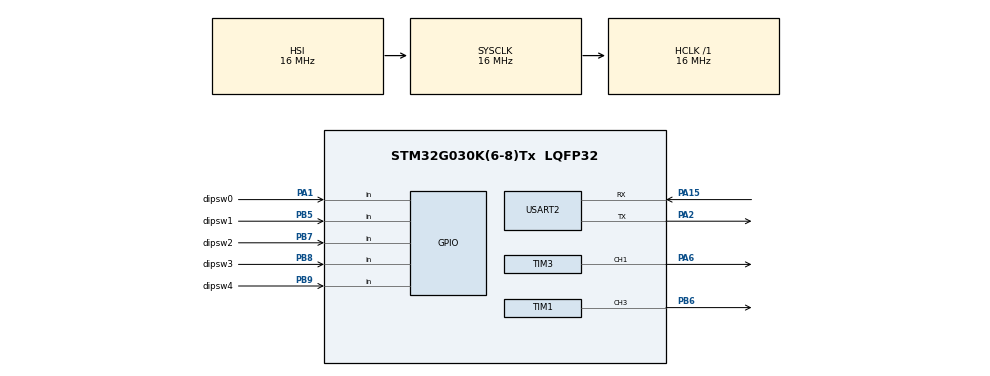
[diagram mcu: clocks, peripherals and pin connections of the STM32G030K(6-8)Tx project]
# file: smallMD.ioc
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Dma.Request0=USART2_RX
Dma.USART2_RX.0.Direction=DMA_PERIPH_TO_MEMORY
Dma.USART2_RX.0.EventEnable=DISABLE
Dma.USART2_RX.0.Instance=DMA1_Channel1
Dma.USART2_RX.0.MemDataAlignment=DMA_MDATAALIGN_BYTE
Dma.USART2_RX.0.MemInc=DMA_MINC_ENABLE
Dma.USART2_RX.0.Mode=DMA_CIRCULAR
Dma.USART2_RX.0.PeriphDataAlignment=DMA_PDATAALIGN_BYTE
Dma.USART2_RX.0.PeriphInc=DMA_PINC_DISABLE
Dma.USART2_RX.0.Polarity=HAL_DMAMUX_REQ_GEN_RISING
Dma.USART2_RX.0.Priority=DMA_PRIORITY_VERY_HIGH
Dma.USART2_RX.0.RequestNumber=1
Dma.USART2_RX.0.SignalID=NONE
Dma.USART2_RX.0.SyncEnable=DISABLE
Dma.USART2_RX.0.SyncPolarity=HAL_DMAMUX_SYNC_NO_EVENT
Dma.USART2_RX.0.SyncRequestNumber=1
Dma.USART2_RX.0.SyncSignalID=NONE
Mcu.Family=STM32G0
Mcu.Name=STM32G030K(6-8)Tx
Mcu.Package=LQFP32
NVIC.DMA1_Channel1_IRQn=true\:0\:0\:false\:false\:true\:false\:true\:true
NVIC.TIM14_IRQn=true\:0\:0\:false\:false\:true\:true\:true\:true
PA1.GPIO_Label=dipsw0
PA1.Signal=GPIO_Input
PA13.Mode=Serial_Wire
PA13.Signal=SYS_SWDIO
PA14-BOOT0.Mode=Serial_Wire
PA14-BOOT0.Signal=SYS_SWCLK
PA15.Mode=Asynchronous
PA15.Signal=USART2_RX
PA2.Mode=Asynchronous
PA2.Signal=USART2_TX
PA6.Signal=S_TIM3_CH1
PB5.GPIO_Label=dipsw1
PB5.Signal=GPIO_Input
PB6.Signal=S_TIM1_CH3
PB7.GPIO_Label=dipsw2
PB7.Signal=GPIO_Input
PB8.GPIO_Label=dipsw3
PB8.Signal=GPIO_Input
PB9.GPIO_Label=dipsw4
PB9.Signal=GPIO_Input
ProjectManager.HeapSize=0x200
ProjectManager.StackSize=0x400
ProjectManager.TargetToolchain=STM32CubeIDE
RCC.AHBFreq_Value=16000000
RCC.CortexFreq_Value=16000000
RCC.EXTERNAL_CLOCK_VALUE=12288000
RCC.HCLKFreq_Value=16000000
RCC.HSE_VALUE=8000000
RCC.HSI_VALUE=16000000
RCC.LSE_VALUE=32768
RCC.SYSCLKFreq_VALUE=16000000
RCC.VCOOutputFreq_Value=128000000
SH.S_TIM1_CH3.0=TIM1_CH3,PWM Generation3 CH3
SH.S_TIM3_CH1.0=TIM3_CH1,PWM Generation1 CH1
TIM1.Channel-PWM\ Generation3\ CH3=TIM_CHANNEL_3
TIM1.Period=128-1
TIM1.Prescaler=128-1
TIM14.Period=1000-1
TIM14.Prescaler=16000-1
TIM3.Channel-PWM\ Generation1\ CH1=TIM_CHANNEL_1
TIM3.Period=128-1
TIM3.Prescaler=16-1
USART2.VirtualMode-Asynchronous=VM_ASYNC
VP_TIM14_VS_ClockSourceINT.Mode=Enable_Timer
VP_TIM1_VS_ClockSourceINT.Mode=Internal
VP_TIM3_VS_ClockSourceINT.Mode=Internal
board=custom

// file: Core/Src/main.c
/* USER CODE BEGIN Header */
/**
  ******************************************************************************
  * @file           : main.c
  * @brief          : Main program body
  ******************************************************************************
  * @attention
  *
  * Copyright (c) 2024 STMicroelectronics.
  * All rights reserved.
  *
  * This software is licensed under terms that can be found in the LICENSE file
  * in the root directory of this software component.
  * If no LICENSE file comes with this software, it is provided AS-IS.
  *
  ******************************************************************************
  */
/* USER CODE END Header */
#include "main.h"

/* USER CODE BEGIN Includes */
#include "math.h"

/* USER CODE END Includes */

TIM_HandleTypeDef htim1;
TIM_HandleTypeDef htim3;
TIM_HandleTypeDef htim14;

UART_HandleTypeDef huart2;
DMA_HandleTypeDef hdma_usart2_rx;

/* USER CODE BEGIN PV */
uint8_t rxBuf[256];
uint8_t index_len = 0;
uint8_t rcvData[5] = {
		0, 0, 0, 1, 80
};
uint64_t milli_seconds = 0;
uint64_t m_counter = 0;
uint8_t ID = 5;
int16_t angle = 0;
int16_t gyro = 0;
int16_t speed = 0;
int16_t speed0 = 0;
int16_t speed1 = 0;
int16_t speed2 = 0;

/* USER CODE END PV */

void SystemClock_Config(void);
static void MX_GPIO_Init(void);
static void MX_DMA_Init(void);
static void MX_TIM1_Init(void);
static void MX_TIM3_Init(void);
static void MX_USART2_UART_Init(void);
static void MX_TIM14_Init(void);
/* USER CODE BEGIN PFP */
void exe_motor(int8_t inst_speed);
void DMA_read();
uint64_t readCounter();
void HAL_TIM_PeriodElapsedCallback(TIM_HandleTypeDef *htim);
void get_ID();
void calc_angle();

/* USER CODE END PFP */

/* USER CODE BEGIN 0 */
void exe_motor(int8_t inst_speed){
	if(inst_speed > 0){
		__HAL_TIM_SET_COMPARE(&htim1, TIM_CHANNEL_3, inst_speed);
		__HAL_TIM_SET_COMPARE(&htim3, TIM_CHANNEL_1, 0);
	}
	if(inst_speed < 0){
		__HAL_TIM_SET_COMPARE(&htim1, TIM_CHANNEL_3, 0);
		__HAL_TIM_SET_COMPARE(&htim3, TIM_CHANNEL_1, inst_speed * -1);
	}
//	if(inst_speed == 0){
//		__HAL_TIM_SET_COMPARE(&htim1, TIM_CHANNEL_3, 0);
//		__HAL_TIM_SET_COMPARE(&htim3, TIM_CHANNEL_1, 0);
//	}
	  HAL_Delay(10);
}
void DMA_read(){
	index_len = huart2.hdmarx->Instance->CNDTR;
	index_len = sizeof(rxBuf) - index_len;
	int16_t search = index_len - 11;
	if(search < 0){
		search += sizeof(rxBuf);
		while(1){
			if(rxBuf[search] == 250){
				rcvData[0] = rxBuf[search + 1];
				rcvData[1] = rxBuf[search + 2];
				rcvData[2] = rxBuf[search + 3];
				rcvData[3] = rxBuf[search + 4];
				rcvData[4] = rxBuf[search + 5];
				break;
			}
			if(search == sizeof(rxBuf)){
				break;
			}
			search++;
			if(search >= sizeof(rxBuf)){
				search -= sizeof(rxBuf);
			}
	}
}
uint64_t readCounter(){
   return (m_counter * 1000) + TIM14->CNT;
}
void HAL_TIM_PeriodElapsedCallback(TIM_HandleTypeDef *htim){
    if (htim == &htim14){
        m_counter++;
    }
}
void get_ID(){
	  if(HAL_GPIO_ReadPin(dipsw0_GPIO_Port, dipsw0_Pin) == 1){
		  ID = 0;
	  }else if(HAL_GPIO_ReadPin(dipsw1_GPIO_Port, dipsw1_Pin) == 1){
		  ID = 1;
	  }else if(HAL_GPIO_ReadPin(dipsw2_GPIO_Port, dipsw2_Pin) == 1){
		  ID = 2;
	  }
}
void unzip(uint8_t zip[3]){
	angle = zip[0] * 100 + zip[1];
	speed = zip[2];
	gyro = zip[3] * 100 + zip[4] - 180;
}
void calc_angle(){
	  speed0 = sin(((double)angle - 60) / 180 * 3.14) * speed;
	  speed1 = sin(((double)angle - 180) / 180 * 3.14) * speed;
	  speed2 = sin(((double)angle - 300) / 180 * 3.14) * speed;
	  if(gyro > 5){
		  speed0 -= gyro * 3;
		  speed1 -= gyro * 3;
		  speed2 -= gyro * 3;
	  }
	  if(gyro < -5){
		  speed0 -= gyro * 3;
		  speed1 -= gyro * 3;
		  speed2 -= gyro * 3;
	  }
}
void move(){
	if(ID == 0){
		exe_motor(speed0);
	}
	if(ID == 1){
		exe_motor(speed1);
	}
	if(ID == 2){
		exe_motor(speed2);
	}
	else{
		exe_motor(0);
	}
}

/* USER CODE END 0 */

int main(void)
{

  /* MCU Configuration--------------------------------------------------------*/

  /* Reset of all peripherals, Initializes the Flash interface and the Systick. */
  HAL_Init();

  /* Configure the system clock */
  SystemClock_Config();

  /* Initialize all configured peripherals */
  MX_GPIO_Init();
  MX_DMA_Init();
  MX_TIM1_Init();
  MX_TIM3_Init();
  MX_USART2_UART_Init();
  MX_TIM14_Init();
  /* USER CODE BEGIN 2 */
  HAL_TIM_PWM_Start(&htim1, TIM_CHANNEL_3);
  HAL_TIM_PWM_Start(&htim3, TIM_CHANNEL_1);
  HAL_TIM_Base_Start_IT(&htim14);
  get_ID();

  /* USER CODE END 2 */

  /* Infinite loop */
  /* USER CODE BEGIN WHILE */
  HAL_UART_Receive_DMA(&huart2, rxBuf, sizeof(rxBuf));

  while (1)
  {
    /* USER CODE END WHILE */

    /* USER CODE BEGIN 3 */
	  milli_seconds = readCounter();
	  DMA_read();
	  unzip(rcvData);
	  calc_angle();
	  if(milli_seconds > 3000){
		  move();
	  }

  }
  /* USER CODE END 3 */
}

void SystemClock_Config(void)
{
  RCC_OscInitTypeDef RCC_OscInitStruct = {0};
  RCC_ClkInitTypeDef RCC_ClkInitStruct = {0};

  /** Configure the main internal regulator output voltage
  */
  HAL_PWREx_ControlVoltageScaling(PWR_REGULATOR_VOLTAGE_SCALE1);

  /** Initializes the RCC Oscillators according to the specified parameters
  * in the RCC_OscInitTypeDef structure.
  */
  RCC_OscInitStruct.OscillatorType = RCC_OSCILLATORTYPE_HSI;
  RCC_OscInitStruct.HSIState = RCC_HSI_ON;
  RCC_OscInitStruct.HSIDiv = RCC_HSI_DIV1;
  RCC_OscInitStruct.HSICalibrationValue = RCC_HSICALIBRATION_DEFAULT;
  RCC_OscInitStruct.PLL.PLLState = RCC_PLL_NONE;
  if (HAL_RCC_OscConfig(&RCC_OscInitStruct) != HAL_OK)
  {
    Error_Handler();
  }

  /** Initializes the CPU, AHB and APB buses clocks
  */
  RCC_ClkInitStruct.ClockType = RCC_CLOCKTYPE_HCLK|RCC_CLOCKTYPE_SYSCLK
                              |RCC_CLOCKTYPE_PCLK1;
  RCC_ClkInitStruct.SYSCLKSource = RCC_SYSCLKSOURCE_HSI;
  RCC_ClkInitStruct.AHBCLKDivider = RCC_SYSCLK_DIV1;
  RCC_ClkInitStruct.APB1CLKDivider = RCC_HCLK_DIV1;

  if (HAL_RCC_ClockConfig(&RCC_ClkInitStruct, FLASH_LATENCY_0) != HAL_OK)
  {
    Error_Handler();
  }
}

static void MX_TIM1_Init(void)
{

  TIM_ClockConfigTypeDef sClockSourceConfig = {0};
  TIM_MasterConfigTypeDef sMasterConfig = {0};
  TIM_OC_InitTypeDef sConfigOC = {0};
  TIM_BreakDeadTimeConfigTypeDef sBreakDeadTimeConfig = {0};

  htim1.Instance = TIM1;
  htim1.Init.Prescaler = 128-1;
  htim1.Init.CounterMode = TIM_COUNTERMODE_UP;
  htim1.Init.Period = 128-1;
  htim1.Init.ClockDivision = TIM_CLOCKDIVISION_DIV1;
  htim1.Init.RepetitionCounter = 0;
  htim1.Init.AutoReloadPreload = TIM_AUTORELOAD_PRELOAD_DISABLE;
  if (HAL_TIM_Base_Init(&htim1) != HAL_OK)
  {
    Error_Handler();
  }
  sClockSourceConfig.ClockSource = TIM_CLOCKSOURCE_INTERNAL;
  if (HAL_TIM_ConfigClockSource(&htim1, &sClockSourceConfig) != HAL_OK)
  {
    Error_Handler();
  }
  if (HAL_TIM_PWM_Init(&htim1) != HAL_OK)
  {
    Error_Handler();
  }
  sMasterConfig.MasterOutputTrigger = TIM_TRGO_RESET;
  sMasterConfig.MasterOutputTrigger2 = TIM_TRGO2_RESET;
  sMasterConfig.MasterSlaveMode = TIM_MASTERSLAVEMODE_DISABLE;
  if (HAL_TIMEx_MasterConfigSynchronization(&htim1, &sMasterConfig) != HAL_OK)
  {
    Error_Handler();
  }
  sConfigOC.OCMode = TIM_OCMODE_PWM1;
  sConfigOC.Pulse = 0;
  sConfigOC.OCPolarity = TIM_OCPOLARITY_HIGH;
  sConfigOC.OCNPolarity = TIM_OCNPOLARITY_HIGH;
  sConfigOC.OCFastMode = TIM_OCFAST_DISABLE;
  sConfigOC.OCIdleState = TIM_OCIDLESTATE_RESET;
  sConfigOC.OCNIdleState = TIM_OCNIDLESTATE_RESET;
  if (HAL_TIM_PWM_ConfigChannel(&htim1, &sConfigOC, TIM_CHANNEL_3) != HAL_OK)
  {
    Error_Handler();
  }
  sBreakDeadTimeConfig.OffStateRunMode = TIM_OSSR_DISABLE;
  sBreakDeadTimeConfig.OffStateIDLEMode = TIM_OSSI_DISABLE;
  sBreakDeadTimeConfig.LockLevel = TIM_LOCKLEVEL_OFF;
  sBreakDeadTimeConfig.DeadTime = 0;
  sBreakDeadTimeConfig.BreakState = TIM_BREAK_DISABLE;
  sBreakDeadTimeConfig.BreakPolarity = TIM_BREAKPOLARITY_HIGH;
  sBreakDeadTimeConfig.BreakFilter = 0;
  sBreakDeadTimeConfig.BreakAFMode = TIM_BREAK_AFMODE_INPUT;
  sBreakDeadTimeConfig.Break2State = TIM_BREAK2_DISABLE;
  sBreakDeadTimeConfig.Break2Polarity = TIM_BREAK2POLARITY_HIGH;
  sBreakDeadTimeConfig.Break2Filter = 0;
  sBreakDeadTimeConfig.Break2AFMode = TIM_BREAK_AFMODE_INPUT;
  sBreakDeadTimeConfig.AutomaticOutput = TIM_AUTOMATICOUTPUT_DISABLE;
  if (HAL_TIMEx_ConfigBreakDeadTime(&htim1, &sBreakDeadTimeConfig) != HAL_OK)
  {
    Error_Handler();
  }
  HAL_TIM_MspPostInit(&htim1);

}

static void MX_TIM3_Init(void)
{

  TIM_ClockConfigTypeDef sClockSourceConfig = {0};
  TIM_MasterConfigTypeDef sMasterConfig = {0};
  TIM_OC_InitTypeDef sConfigOC = {0};

  htim3.Instance = TIM3;
  htim3.Init.Prescaler = 16-1;
  htim3.Init.CounterMode = TIM_COUNTERMODE_UP;
  htim3.Init.Period = 128-1;
  htim3.Init.ClockDivision = TIM_CLOCKDIVISION_DIV1;
  htim3.Init.AutoReloadPreload = TIM_AUTORELOAD_PRELOAD_DISABLE;
  if (HAL_TIM_Base_Init(&htim3) != HAL_OK)
  {
    Error_Handler();
  }
  sClockSourceConfig.ClockSource = TIM_CLOCKSOURCE_INTERNAL;
  if (HAL_TIM_ConfigClockSource(&htim3, &sClockSourceConfig) != HAL_OK)
  {
    Error_Handler();
  }
  if (HAL_TIM_PWM_Init(&htim3) != HAL_OK)
  {
    Error_Handler();
  }
  sMasterConfig.MasterOutputTrigger = TIM_TRGO_RESET;
  sMasterConfig.MasterSlaveMode = TIM_MASTERSLAVEMODE_DISABLE;
  if (HAL_TIMEx_MasterConfigSynchronization(&htim3, &sMasterConfig) != HAL_OK)
  {
    Error_Handler();
  }
  sConfigOC.OCMode = TIM_OCMODE_PWM1;
  sConfigOC.Pulse = 0;
  sConfigOC.OCPolarity = TIM_OCPOLARITY_HIGH;
  sConfigOC.OCFastMode = TIM_OCFAST_DISABLE;
  if (HAL_TIM_PWM_ConfigChannel(&htim3, &sConfigOC, TIM_CHANNEL_1) != HAL_OK)
  {
    Error_Handler();
  }
  HAL_TIM_MspPostInit(&htim3);

}

static void MX_TIM14_Init(void)
{

  htim14.Instance = TIM14;
  htim14.Init.Prescaler = 16000-1;
  htim14.Init.CounterMode = TIM_COUNTERMODE_UP;
  htim14.Init.Period = 1000-1;
  htim14.Init.ClockDivision = TIM_CLOCKDIVISION_DIV1;
  htim14.Init.AutoReloadPreload = TIM_AUTORELOAD_PRELOAD_DISABLE;
  if (HAL_TIM_Base_Init(&htim14) != HAL_OK)
  {
    Error_Handler();
  }

}

static void MX_USART2_UART_Init(void)
{

  huart2.Instance = USART2;
  huart2.Init.BaudRate = 115200;
  huart2.Init.WordLength = UART_WORDLENGTH_8B;
  huart2.Init.StopBits = UART_STOPBITS_1;
  huart2.Init.Parity = UART_PARITY_NONE;
  huart2.Init.Mode = UART_MODE_TX_RX;
  huart2.Init.HwFlowCtl = UART_HWCONTROL_NONE;
  huart2.Init.OverSampling = UART_OVERSAMPLING_16;
  huart2.Init.OneBitSampling = UART_ONE_BIT_SAMPLE_DISABLE;
  huart2.Init.ClockPrescaler = UART_PRESCALER_DIV1;
  huart2.AdvancedInit.AdvFeatureInit = UART_ADVFEATURE_NO_INIT;
  if (HAL_UART_Init(&huart2) != HAL_OK)
  {
    Error_Handler();
  }

}

static void MX_DMA_Init(void)
{

  /* DMA controller clock enable */
  __HAL_RCC_DMA1_CLK_ENABLE();

  /* DMA interrupt init */
  /* DMA1_Channel1_IRQn interrupt configuration */
  HAL_NVIC_SetPriority(DMA1_Channel1_IRQn, 0, 0);
  HAL_NVIC_EnableIRQ(DMA1_Channel1_IRQn);

}

static void MX_GPIO_Init(void)
{
  GPIO_InitTypeDef GPIO_InitStruct = {0};

  /* GPIO Ports Clock Enable */
  __HAL_RCC_GPIOB_CLK_ENABLE();
  __HAL_RCC_GPIOA_CLK_ENABLE();

  /*Configure GPIO pins : dipsw4_Pin dipsw1_Pin dipsw2_Pin dipsw3_Pin */
  GPIO_InitStruct.Pin = dipsw4_Pin|dipsw1_Pin|dipsw2_Pin|dipsw3_Pin;
  GPIO_InitStruct.Mode = GPIO_MODE_INPUT;
  GPIO_InitStruct.Pull = GPIO_NOPULL;
  HAL_GPIO_Init(GPIOB, &GPIO_InitStruct);

  /*Configure GPIO pin : dipsw0_Pin */
  GPIO_InitStruct.Pin = dipsw0_Pin;
  GPIO_InitStruct.Mode = GPIO_MODE_INPUT;
  GPIO_InitStruct.Pull = GPIO_NOPULL;
  HAL_GPIO_Init(dipsw0_GPIO_Port, &GPIO_InitStruct);

}

void Error_Handler(void)
{
  __disable_irq();
  while (1)
  {
  }
}
